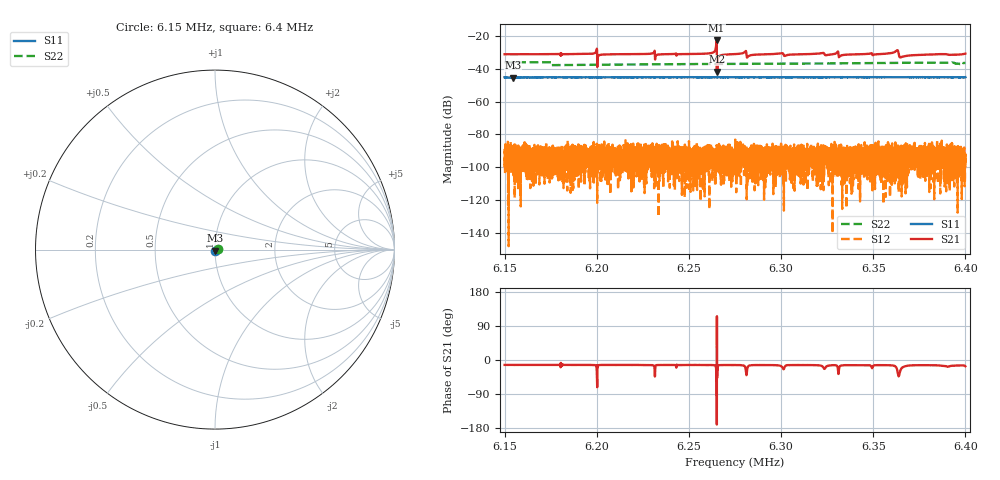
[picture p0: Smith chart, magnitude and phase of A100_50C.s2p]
!CETC41,AV3656A,ZGL00048,1.3.2
!Calibration ON (Full Solt 2-Port(Omit Isolation))
!Measurements: S11 S21 S12 S22
!2025-07-09 22:06
# Hz  S  dB  R 50.000
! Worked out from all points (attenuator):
!   6401 points, 6.15 MHz to 6.4 MHz, reference 50 ohm
!   highest |S21| = -22.51 dB at 6.265 MHz (marker M1); lowest = -41.6 dB at 6.2653 MHz (marker M2)
!   lowest |S11| = -45.3 dB at 6.1545 MHz (marker M3), VSWR 1.01, Z = 50 - j0.543 ohm
!   |S11| at or under -10 dB: start of sweep to end of sweep
!   |S22| runs from -37.6 to -35.8 dB; largest |S21 - S12| = 0.075
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6150000  -44.99 -92.7  -30.94 -13.0  -99.75 7.7  -35.86 7.4
6154531  -45.30 -92.0  -30.94 -13.0  -96.95 154.5  -35.84 7.5
6191680  -45.05 -92.6  -30.81 -13.0  -96.61 36.4  -37.44 9.6
6198945  -45.05 -92.9  -30.23 -13.4  -102.61 -7.1  -37.37 9.5
6201484  -45.06 -92.8  -31.45 -13.2  -90.12 23.9  -37.35 9.5
6233359  -45.02 -92.5  -31.12 -13.3  -96.84 68.2  -37.08 9.3
6260234  -44.96 -92.7  -30.47 -13.3  -100.72 -152.9  -36.90 9.0
6263867  -44.98 -92.8  -29.30 -13.7  -93.95 112.1  -36.90 8.9
6265000  -44.96 -92.7  -22.51 -69.1  -94.45 100.8  -36.88 9.0
6265313  -44.98 -92.8  -41.62 -42.8  -95.24 67.7  -36.90 9.0
6266445  -44.98 -92.8  -32.14 -13.7  -89.39 -174.9  -36.88 9.1
6268086  -45.04 -93.2  -31.40 -13.3  -89.90 -6.4  -36.84 8.9
6275000  -44.97 -92.8  -30.84 -13.3  -92.56 95.6  -36.81 8.8
6279922  -44.98 -93.1  -29.93 -14.9  -104.80 -55.1  -36.81 8.9
6282539  -45.02 -92.6  -31.94 -15.1  -97.44 147.1  -36.78 8.9
6316680  -44.98 -92.5  -30.77 -13.4  -96.36 174.9  -36.59 8.7
6329844  -44.97 -92.6  -30.39 -14.1  -96.78 -19.3  -36.51 8.6
6332422  -44.90 -92.8  -31.74 -14.7  -86.21 106.3  -36.51 8.6
6358359  -45.00 -92.4  -30.47 -13.8  -94.98 148.4  -36.26 8.3
6362500  -44.96 -92.3  -28.89 -19.6  -101.68 -67.5  -36.25 8.3
6365391  -45.00 -92.4  -32.63 -21.8  -117.85 58.0  -36.21 8.3
6400000  -44.97 -92.7  -30.52 -16.6  -98.67 18.0  -36.24 8.7
